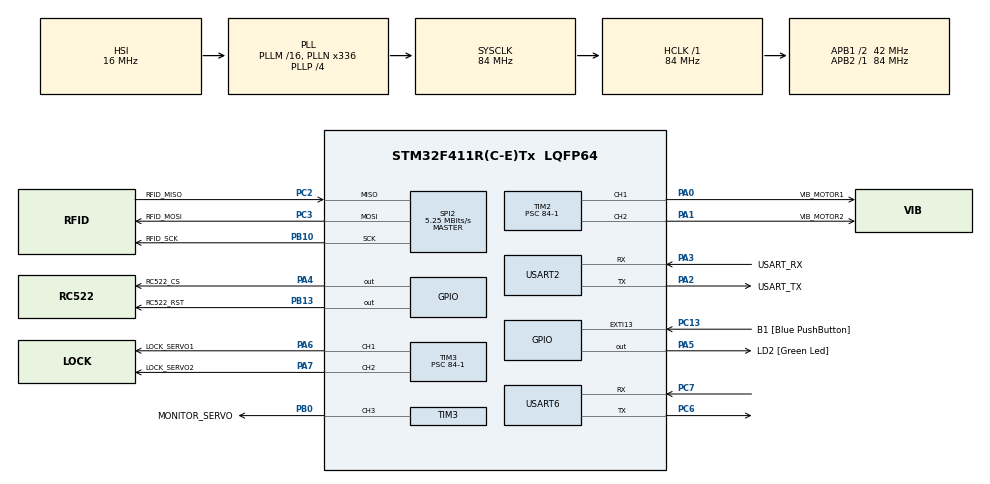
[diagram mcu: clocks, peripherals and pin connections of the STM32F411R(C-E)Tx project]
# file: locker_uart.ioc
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Dma.Request0=USART6_RX
Dma.Request1=USART6_TX
Dma.USART6_RX.0.Direction=DMA_PERIPH_TO_MEMORY
Dma.USART6_RX.0.FIFOMode=DMA_FIFOMODE_DISABLE
Dma.USART6_RX.0.Instance=DMA2_Stream1
Dma.USART6_RX.0.MemDataAlignment=DMA_MDATAALIGN_BYTE
Dma.USART6_RX.0.MemInc=DMA_MINC_ENABLE
Dma.USART6_RX.0.Mode=DMA_NORMAL
Dma.USART6_RX.0.PeriphDataAlignment=DMA_PDATAALIGN_BYTE
Dma.USART6_RX.0.PeriphInc=DMA_PINC_DISABLE
Dma.USART6_RX.0.Priority=DMA_PRIORITY_LOW
Dma.USART6_TX.1.Direction=DMA_MEMORY_TO_PERIPH
Dma.USART6_TX.1.FIFOMode=DMA_FIFOMODE_DISABLE
Dma.USART6_TX.1.Instance=DMA2_Stream6
Dma.USART6_TX.1.MemDataAlignment=DMA_MDATAALIGN_BYTE
Dma.USART6_TX.1.MemInc=DMA_MINC_ENABLE
Dma.USART6_TX.1.Mode=DMA_NORMAL
Dma.USART6_TX.1.PeriphDataAlignment=DMA_PDATAALIGN_BYTE
Dma.USART6_TX.1.PeriphInc=DMA_PINC_DISABLE
Dma.USART6_TX.1.Priority=DMA_PRIORITY_LOW
Mcu.Family=STM32F4
Mcu.Name=STM32F411R(C-E)Tx
Mcu.Package=LQFP64
NVIC.DMA2_Stream1_IRQn=true\:0\:0\:false\:false\:true\:false\:true\:true
NVIC.DMA2_Stream6_IRQn=true\:0\:0\:false\:false\:true\:false\:true\:true
NVIC.PriorityGroup=NVIC_PRIORITYGROUP_4
NVIC.USART6_IRQn=true\:0\:0\:false\:false\:true\:true\:true\:true
PA0-WKUP.GPIO_Label=VIB_MOTOR1
PA0-WKUP.Signal=S_TIM2_CH1_ETR
PA1.GPIO_Label=VIB_MOTOR2
PA1.Signal=S_TIM2_CH2
PA13.GPIO_Label=TMS
PA13.Mode=Serial_Wire
PA13.Signal=SYS_JTMS-SWDIO
PA14.GPIO_Label=TCK
PA14.Mode=Serial_Wire
PA14.Signal=SYS_JTCK-SWCLK
PA2.GPIO_Label=USART_TX
PA2.Mode=Asynchronous
PA2.Signal=USART2_TX
PA3.GPIO_Label=USART_RX
PA3.Mode=Asynchronous
PA3.Signal=USART2_RX
PA4.GPIO_Label=RC522_CS
PA4.Signal=GPIO_Output
PA5.GPIO_Label=LD2 [Green Led]
PA5.Signal=GPIO_Output
PA6.GPIO_Label=LOCK_SERVO1
PA6.Signal=S_TIM3_CH1
PA7.GPIO_Label=LOCK_SERVO2
PA7.Signal=S_TIM3_CH2
PB0.GPIO_Label=MONITOR_SERVO
PB0.Signal=S_TIM3_CH3
PB10.GPIO_Label=RFID_SCK
PB10.Mode=Full_Duplex_Master
PB10.Signal=SPI2_SCK
PB13.GPIO_Label=RC522_RST
PB13.Signal=GPIO_Output
PB3.GPIO_Label=SWO
PB3.Signal=SYS_JTDO-SWO
PC13-ANTI_TAMP.GPIO_Label=B1 [Blue PushButton]
PC13-ANTI_TAMP.GPIO_ModeDefaultEXTI=GPIO_MODE_IT_FALLING
PC13-ANTI_TAMP.Signal=GPXTI13
PC14-OSC32_IN.Signal=RCC_OSC32_IN
PC15-OSC32_OUT.Signal=RCC_OSC32_OUT
PC2.GPIO_Label=RFID_MISO
PC2.Mode=Full_Duplex_Master
PC2.Signal=SPI2_MISO
PC3.GPIO_Label=RFID_MOSI
PC3.Mode=Full_Duplex_Master
PC3.Signal=SPI2_MOSI
PC6.Mode=Asynchronous
PC6.Signal=USART6_TX
PC7.Mode=Asynchronous
PC7.Signal=USART6_RX
PH0\ -\ OSC_IN.Signal=RCC_OSC_IN
PH1\ -\ OSC_OUT.Signal=RCC_OSC_OUT
ProjectManager.HeapSize=0x200
ProjectManager.StackSize=0x400
ProjectManager.TargetToolchain=STM32CubeIDE
RCC.48MHZClocksFreq_Value=84000000
RCC.AHBFreq_Value=84000000
RCC.APB1CLKDivider=RCC_HCLK_DIV2
RCC.APB1Freq_Value=42000000
RCC.APB1TimFreq_Value=84000000
RCC.APB2Freq_Value=84000000
RCC.APB2TimFreq_Value=84000000
RCC.CortexFreq_Value=84000000
RCC.FLatency-AdvancedSettings=FLASH_LATENCY_2
RCC.HCLKFreq_Value=84000000
RCC.HSE_VALUE=8000000
RCC.HSI_VALUE=16000000
RCC.LSE_VALUE=32768
RCC.PLLN=336
RCC.PLLP=RCC_PLLP_DIV4
RCC.SYSCLKFreq_VALUE=84000000
RCC.SYSCLKSource=RCC_SYSCLKSOURCE_PLLCLK
RCC.VCOOutputFreq_Value=336000000
SH.S_TIM2_CH1_ETR.0=TIM2_CH1,PWM Generation1 CH1
SH.S_TIM2_CH2.0=TIM2_CH2,PWM Generation2 CH2
SH.S_TIM3_CH1.0=TIM3_CH1,PWM Generation1 CH1
SH.S_TIM3_CH2.0=TIM3_CH2,PWM Generation2 CH2
SH.S_TIM3_CH3.0=TIM3_CH3,PWM Generation3 CH3
SPI2.BaudRatePrescaler=SPI_BAUDRATEPRESCALER_8
SPI2.CalculateBaudRate=5.25 MBits/s
SPI2.Direction=SPI_DIRECTION_2LINES
SPI2.Mode=SPI_MODE_MASTER
SPI2.VirtualType=VM_MASTER
TIM2.Channel-PWM\ Generation1\ CH1=TIM_CHANNEL_1
TIM2.Channel-PWM\ Generation2\ CH2=TIM_CHANNEL_2
TIM2.Period=1000-1
TIM2.Prescaler=84-1
TIM3.Channel-PWM\ Generation1\ CH1=TIM_CHANNEL_1
TIM3.Channel-PWM\ Generation2\ CH2=TIM_CHANNEL_2
TIM3.Channel-PWM\ Generation3\ CH3=TIM_CHANNEL_3
TIM3.Period=20000-1
TIM3.Prescaler=84-1
USART2.VirtualMode=VM_ASYNC
USART6.VirtualMode=VM_ASYNC
board=NUCLEO-F411RE

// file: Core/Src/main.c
/* USER CODE BEGIN Header */
/**
  ******************************************************************************
  * @file           : main.c
  * @brief          : Main program body
  ******************************************************************************
  * @attention
  *
  * Copyright (c) 2025 STMicroelectronics.
  * All rights reserved.
  *
  * This software is licensed under terms that can be found in the LICENSE file
  * in the root directory of this software component.
  * If no LICENSE file comes with this software, it is provided AS-IS.
  *
  ******************************************************************************
  */
/* USER CODE END Header */
#include "main.h"

/* USER CODE BEGIN Includes */
#include <stdio.h>
#include <string.h>
#include "mfrc522.h"

/* USER CODE END Includes */

/* USER CODE BEGIN PD */
#ifdef __GNUC__
/* With GCC, small printf (option LD Linker->Libraries->Small printf
   set to 'Yes') calls __io_putchar() */
#define PUTCHAR_PROTOTYPE int __io_putchar(int ch)
#else
#define PUTCHAR_PROTOTYPE int fputc(int ch, FILE *f)
#endif /* __GNUC__ */

/* USER CODE END PD */

SPI_HandleTypeDef hspi2;

TIM_HandleTypeDef htim2;
TIM_HandleTypeDef htim3;

UART_HandleTypeDef huart2;
UART_HandleTypeDef huart6;
DMA_HandleTypeDef hdma_usart6_rx;
DMA_HandleTypeDef hdma_usart6_tx;

/* USER CODE BEGIN PV */
#define RX_BUF_SIZE 256
#define TX_BUF_SIZE 256
#define ARR_CNT 4
uint8_t rxBuf[RX_BUF_SIZE];

volatile uint8_t rx_ch;
volatile uint8_t rx_index;
uint8_t uart6_flag = 0;
uint8_t uart6_rx_len = 0;
volatile uint8_t vib_flag = 0;	// 진동 기능 flag
volatile uint8_t vib_repeat = 0;	// 패턴 반복 횟수
static volatile uint8_t old = 0;
char msg_temp[RX_BUF_SIZE];
char* msg = msg_temp;

// RFID
uint8_t cardID[5];
char uid_str[16];
static volatile int authentication_flag = 0;
static volatile int auth_start_time = -1; // 인증 시작 시점의 tim3Sec 저장
static uint8_t card_present = 0;

uint8_t status;
uint8_t str[16];
uint8_t sNum[5];

char uid_msg[TX_BUF_SIZE];

/* USER CODE END PV */

void SystemClock_Config(void);
static void MX_GPIO_Init(void);
static void MX_DMA_Init(void);
static void MX_USART2_UART_Init(void);
static void MX_USART6_UART_Init(void);
static void MX_TIM3_Init(void);
static void MX_TIM2_Init(void);
static void MX_SPI2_Init(void);
/* USER CODE BEGIN PFP */
void processMessage(char *msg);
void servo_unlock(void);
void servo_lock(void);
void send_status(const char *status);
void Motor_SetDutyPercent(uint8_t percent);
int Vib_PulsePattern(void);
void servo_setAngle(uint8_t angle);

/* USER CODE END PFP */

/* USER CODE BEGIN 0 */

/* 들어오는 메시지 처리 */
void processMessage(char* msg)
{
	/*=== 문자열 파싱 ===*/
	int i = 0;
	char * pToken;
	char * pArray[ARR_CNT]={0};

	printf("Original Received : %s\r\n", msg);

	pToken = strtok(msg,":");
	while(pToken != NULL)
	{
	    pArray[i] = pToken;
	    if(++i >= ARR_CNT)
	      break;
	    pToken = strtok(NULL,":");
	}
	if(!strcmp(pArray[2],"DRAWER"))
	{
	 	if(!strcmp(pArray[3],"UNLOCK"))
	  	{
	  		printf(">>>>>debug : unlock\r\n");
			servo_unlock();		// 서랍 잠금해제
			send_status("unlocked success\n");	// 상태 회신 : 잠금해제 성공
	  	}
		else if(!strcmp(pArray[3],"LOCK"))
		{
			printf(">>>>>debug : lock\r\n");
			servo_lock();		// 서랍 잠금
			send_status("locked success\n");	// 상태 회신 : 잠금 성공
		}
	}
	if(!strcmp(pArray[2],"SLP"))
	{
	 	if(!strcmp(pArray[3],"ON"))
	  	{
	  		printf(">>>>>debug : sleeping \r\n");
//		    for(int i = 0; i < 5; i ++)
//		    {
//			    Vib_PulsePattern(); // "두두둑" 패턴 실행
//			    HAL_Delay(800);
//		    }
//		    send_status("vibration success\n");	// 상태 회신 : 진동 성공
		    vib_repeat = 5;		// 5번 반복
		    vib_flag = 1;		// 진동 시작
		    send_status("vibration started\n");	// 상태 회신 : 진동 성공

	  	}
		else if(!strcmp(pArray[3],"OFF"))
		{
			printf(">>>>>debug : No sleeping \r\n");
		}
	}
	if(!strcmp(pArray[2],"POSTURE"))
	{
	 	if(!strcmp(pArray[3],"BAD"))
	  	{
	  		printf(">>>>>debug : bad posture \r\n");
			__HAL_TIM_SET_COMPARE(&htim3, TIM_CHANNEL_3, 2200);
			send_status("monitor tilted up\n");	// 상태 회신 : 모니터 강제 조절 성공
	  	}
		else if(!strcmp(pArray[3],"OK"))
		{
			printf(">>>>>debug : good posture \r\n");
			__HAL_TIM_SET_COMPARE(&htim3, TIM_CHANNEL_3, 2500);
			send_status("monitor reset\n");	// 상태 회신 : 모니터 원상복구
		}
	}

#if 1
	if(strcmp(msg, "unlock") == 0)
	{
		servo_unlock();		// 서랍 잠금해제
		send_status("unlocked success\n");	// 상태 회신 : 잠금해제 성공
	}
	else if(strcmp(msg, "lock") == 0)
	{
		servo_lock();		// 서랍 잠금
		send_status("locked success\n");	// 상태 회신 : 잠금 성공
	}
	else if(strcmp(msg, "sleeping") == 0)
	{
	    printf("Running Vibration...\r\n");
//	    for(int i = 0; i < 5; i ++)
//	    {
//		    Vib_PulsePattern(); // "두두둑" 패턴 실행
//		    HAL_Delay(800);
//	    }
	    vib_repeat = 5;		// 5번 반복
	    vib_flag = 1;		// 진동 시작
	    send_status("vibration started\n");	// 상태 회신 : 진동 성공
	}

	else if(strcmp(msg, "2") == 0)		// 좋은 자세일 때
	{
		printf("Running monitor reset...\r\n");
		__HAL_TIM_SET_COMPARE(&htim3, TIM_CHANNEL_3, 2500);
		send_status("monitor reset\n");	// 상태 회신 : 모니터 원상복구
	}

	else if(strcmp(msg, "1") == 0)		// 나쁜 자세일 때
	{
		printf("Running monitor tilt...\r\n");
		__HAL_TIM_SET_COMPARE(&htim3, TIM_CHANNEL_3, 2200);
		send_status("monitor tilted up\n");	// 상태 회신 : 모니터 강제 조절 성공
	}
	else if(strcmp(msg, "test") == 0)
	{
        // Pi로 전송
        HAL_UART_Transmit(&huart6, (uint8_t*)uid_str, strlen(uid_str), HAL_MAX_DELAY);
        HAL_UART_Transmit(&huart6, (uint8_t*)"\n", 1, HAL_MAX_DELAY);
	}
#endif

}

/* 메시지 전송 */
void send_status(const char *status)
{
	HAL_UART_Transmit(&huart6, (uint8_t*)status, strlen(status), HAL_MAX_DELAY);
}

/*================== 잠금서랍 기능 ==================*/
void servo_unlock(void)
{
	// PWM 제어 코드 (0 도)
	__HAL_TIM_SET_COMPARE(&htim3, TIM_CHANNEL_1, 500);	// 0도
	__HAL_TIM_SET_COMPARE(&htim3, TIM_CHANNEL_2, 1500);	// 90도
	printf("0도\r\n");

}

void servo_lock(void)
{
	// PWM 제어 코드 ( 90 도)
	__HAL_TIM_SET_COMPARE(&htim3, TIM_CHANNEL_1, 1500);	// 90도
	__HAL_TIM_SET_COMPARE(&htim3, TIM_CHANNEL_2, 500);	// 0도
	printf("90도\r\n");
}

/*================== 졸음 진동 기능 ==================*/
// 모터 듀티 설정 (percent 0~100)
void Motor_SetDutyPercent(uint8_t percent) {
    if (percent > 100) percent = 100;
    uint32_t arr = __HAL_TIM_GET_AUTORELOAD(&htim2); // 499
    uint32_t ccr = (arr + 1) * percent / 100;
    __HAL_TIM_SET_COMPARE(&htim2, TIM_CHANNEL_1, ccr);
    __HAL_TIM_SET_COMPARE(&htim2, TIM_CHANNEL_2, ccr);
}

// 진동 패턴 구현
int Vib_PulsePattern(void) {
	static uint32_t last_tick = 0;
	static int state = 0;
	static int pulse_count = 0;

	uint32_t now = HAL_GetTick();

	switch(state)
	{
		case 0:		// 모터 on
			Motor_SetDutyPercent(70);	// 70%로 모터 동작
			last_tick = now;	// 현재 시간을 저장
			pulse_count = 0;	// 강약 반복 횟수
			state = 1;
			break;
		case 1:		// on 500ms -> off
			if(now - last_tick >= 500)	// 500ms 넘어가면
			{
				Motor_SetDutyPercent(0);	// 0%로 모터 동작
				last_tick = now;
				state = 2;
			}
			break;
		case 2:		// off 300 ms -> on
		{
			if(now - last_tick >= 300)	// 300ms 넘어가면
			{
				pulse_count++;
				if(pulse_count < 3)
				{
					Motor_SetDutyPercent(50);	// 50%로 모터 동작
					last_tick = now;
					state = 1;
				}
				else		// 강약 반복 3번 넘어가면
				{
					state = 0;
					return 1;
				}
			}
			break;
		}
	}
	return 0;

//    for (int i=0;i<3;i++) {
//        Motor_SetDutyPercent(50); HAL_Delay(500);
//        Motor_SetDutyPercent(0);  HAL_Delay(100);
//    }
}

/*================== 모니터 조절 기능 ==================*/
void servo_setAngle(uint8_t angle)
{
    /* angle: 0~180 범위 */
    if (angle > 180) angle = 180;

    /*
     * PWM 주기 설정값
     * PSC = 84-1, ARR = 20000-1 → 1 tick = 1 us, 주기 = 20 ms (50Hz)
     * Servo: 0도 ≈ 1ms 펄스, 180도 ≈ 2ms 펄스
     * 즉, CCR = 1000 ~ 2000 (us 단위)
     */
    uint16_t pulse = 1000 + ((angle * 1000) / 180);

    __HAL_TIM_SET_COMPARE(&htim3, TIM_CHANNEL_3, pulse);
}

/* USER CODE END 0 */

int main(void)
{

  /* USER CODE BEGIN 1 */
	uint8_t status;
	uint8_t str[16];

  /* USER CODE END 1 */

  /* MCU Configuration--------------------------------------------------------*/

  /* Reset of all peripherals, Initializes the Flash interface and the Systick. */
  HAL_Init();

  /* Configure the system clock */
  SystemClock_Config();

  /* Initialize all configured peripherals */
  MX_GPIO_Init();
  MX_DMA_Init();
  MX_USART2_UART_Init();
  MX_USART6_UART_Init();
  MX_TIM3_Init();
  MX_TIM2_Init();
  MX_SPI2_Init();
  /* USER CODE BEGIN 2 */
  printf("main start()!!\r\n");

  if(HAL_TIM_PWM_Start(&htim3, TIM_CHANNEL_1) != HAL_OK)
	  Error_Handler();
  if(HAL_TIM_PWM_Start(&htim3, TIM_CHANNEL_2) != HAL_OK)
	  Error_Handler();
  if(HAL_TIM_PWM_Start(&htim3, TIM_CHANNEL_3) != HAL_OK)
	  Error_Handler();
  if(HAL_TIM_PWM_Start(&htim2, TIM_CHANNEL_1) != HAL_OK)
	  Error_Handler();
  if(HAL_TIM_PWM_Start(&htim2, TIM_CHANNEL_2) != HAL_OK)
	  Error_Handler();

  /*=== 인터럽트 방식 ===*/
//  HAL_UART_Receive_IT(&huart6, (uint8_t*)&rx_ch, 1);

  /*=== DMA 방식 ===*/
//  __HAL_UART_ENABLE_IT(&huart6, UART_IT_IDLE);	// IDLE 인터럽트 활성화
//  HAL_UART_Receive_DMA(&huart6, (uint8_t*)rxBuf, RX_BUF_SIZE);
// 	-> 옛날 방식
  HAL_UARTEx_ReceiveToIdle_DMA(&huart6, rxBuf, RX_BUF_SIZE);

  /*=== RFID ===*/
	MFRC522_Init();                               // RC522 초기화

  /* USER CODE END 2 */

  /* Infinite loop */
  /* USER CODE BEGIN WHILE */
  while (1)
  {
//========= RFID 체크 ===============
		status = MFRC522_Request(PICC_REQIDL, str);		// 카드 타입

		if (status == MI_OK && card_present == 0)   // 카드가 감지됨
		{
		    status = MFRC522_Anticoll(str);			// 카드 UID : str[0] ~ [4]에 저장
		    if (status == MI_OK)   // UID 읽기 성공
		    {
		    	card_present = 1;	// 카드 감지된 상태

		        // UID를 문자열로 변환
	            sprintf(uid_str, "%02X%02X%02X%02X", str[0], str[1], str[2], str[3]);
	            printf("Card UID: %s\r\n", uid_str);

	            sprintf(uid_msg, "STM32:none:RFID:%s\n", uid_str);
	            printf("uid_msg : %s\r\n", uid_msg);

	            // Pi로 전송
	            send_status(uid_msg);

	            HAL_Delay(5000);
	            card_present = 0;	// 카드 인식되지 않은 상태
		    }
		}

//========= pi에서 메시지 들어온 경우 처리 ================
// 	-> 옛날 방식
#if 0
	  if(uart6_flag)
	  {
		  uart6_flag = 0;

		//=== DMA 처리 ===
		  uart6_rx_len = RX_BUF_SIZE - __HAL_DMA_GET_COUNTER(huart6.hdmarx);	// 수신된 길이 계산
		  if(uart6_rx_len == 0)	continue;							// 메시지 없으면 무시
	      if(rxBuf[uart6_rx_len - 1] == '\n') uart6_rx_len--;		// 메시지 끝 개행(\n) 제거

	      // 화면 출력
	      if(uart6_rx_len > old)	 // RX_BUF_SIZE보다 작은 메시지가 들어올 때
	      {
	    	  printf(">>Received: %.*s\r\n", uart6_rx_len-old, &rxBuf[old]);
	    	  memcpy(msg_temp, &rxBuf[old], uart6_rx_len-old);		// msg_temp에 rxBuf를 copy
	      }
	      else	// RX_BUF_SIZE보다 큰 메시지가 들어올 때
	      {
		      printf("Received: %.*s", RX_BUF_SIZE-old, &rxBuf[old]);
		      memcpy(msg_temp, &rxBuf[old], RX_BUF_SIZE-old);
		      if(uart6_rx_len) {
		    	  printf("%.*s", uart6_rx_len, &rxBuf[0]);
		    	  memcpy(msg_temp, &rxBuf[old], uart6_rx_len);
		      }
		      printf("\r\n");
	      }

//	      memcpy(msg_temp, &rxBuf, size-2);
	      processMessage(msg_temp);		// msg_temp에 따라 기능 처리
	      old = uart6_rx_len+1;		// old : 이전 메시지의 마지막 부분

	      memset(msg_temp, 0, sizeof(msg_temp));
	  }

#endif
	  //=== 진동 반복 처리 ===
	 if(vib_flag)
	 {
		 if(Vib_PulsePattern())
		 {
			 vib_repeat--;
			 if(vib_repeat <= 0) { vib_flag = 0; }
		 }
	 }

    /* USER CODE END WHILE */

  }
}

void SystemClock_Config(void)
{
  RCC_OscInitTypeDef RCC_OscInitStruct = {0};
  RCC_ClkInitTypeDef RCC_ClkInitStruct = {0};

  /** Configure the main internal regulator output voltage
  */
  __HAL_RCC_PWR_CLK_ENABLE();
  __HAL_PWR_VOLTAGESCALING_CONFIG(PWR_REGULATOR_VOLTAGE_SCALE1);

  /** Initializes the RCC Oscillators according to the specified parameters
  * in the RCC_OscInitTypeDef structure.
  */
  RCC_OscInitStruct.OscillatorType = RCC_OSCILLATORTYPE_HSI;
  RCC_OscInitStruct.HSIState = RCC_HSI_ON;
  RCC_OscInitStruct.HSICalibrationValue = RCC_HSICALIBRATION_DEFAULT;
  RCC_OscInitStruct.PLL.PLLState = RCC_PLL_ON;
  RCC_OscInitStruct.PLL.PLLSource = RCC_PLLSOURCE_HSI;
  RCC_OscInitStruct.PLL.PLLM = 16;
  RCC_OscInitStruct.PLL.PLLN = 336;
  RCC_OscInitStruct.PLL.PLLP = RCC_PLLP_DIV4;
  RCC_OscInitStruct.PLL.PLLQ = 4;
  if (HAL_RCC_OscConfig(&RCC_OscInitStruct) != HAL_OK)
  {
    Error_Handler();
  }

  /** Initializes the CPU, AHB and APB buses clocks
  */
  RCC_ClkInitStruct.ClockType = RCC_CLOCKTYPE_HCLK|RCC_CLOCKTYPE_SYSCLK
                              |RCC_CLOCKTYPE_PCLK1|RCC_CLOCKTYPE_PCLK2;
  RCC_ClkInitStruct.SYSCLKSource = RCC_SYSCLKSOURCE_PLLCLK;
  RCC_ClkInitStruct.AHBCLKDivider = RCC_SYSCLK_DIV1;
  RCC_ClkInitStruct.APB1CLKDivider = RCC_HCLK_DIV2;
  RCC_ClkInitStruct.APB2CLKDivider = RCC_HCLK_DIV1;

  if (HAL_RCC_ClockConfig(&RCC_ClkInitStruct, FLASH_LATENCY_2) != HAL_OK)
  {
    Error_Handler();
  }
}

static void MX_SPI2_Init(void)
{

  /* SPI2 parameter configuration*/
  hspi2.Instance = SPI2;
  hspi2.Init.Mode = SPI_MODE_MASTER;
  hspi2.Init.Direction = SPI_DIRECTION_2LINES;
  hspi2.Init.DataSize = SPI_DATASIZE_8BIT;
  hspi2.Init.CLKPolarity = SPI_POLARITY_LOW;
  hspi2.Init.CLKPhase = SPI_PHASE_1EDGE;
  hspi2.Init.NSS = SPI_NSS_SOFT;
  hspi2.Init.BaudRatePrescaler = SPI_BAUDRATEPRESCALER_8;
  hspi2.Init.FirstBit = SPI_FIRSTBIT_MSB;
  hspi2.Init.TIMode = SPI_TIMODE_DISABLE;
  hspi2.Init.CRCCalculation = SPI_CRCCALCULATION_DISABLE;
  hspi2.Init.CRCPolynomial = 10;
  if (HAL_SPI_Init(&hspi2) != HAL_OK)
  {
    Error_Handler();
  }

}

static void MX_TIM2_Init(void)
{

  TIM_MasterConfigTypeDef sMasterConfig = {0};
  TIM_OC_InitTypeDef sConfigOC = {0};

  htim2.Instance = TIM2;
  htim2.Init.Prescaler = 84-1;
  htim2.Init.CounterMode = TIM_COUNTERMODE_UP;
  htim2.Init.Period = 1000-1;
  htim2.Init.ClockDivision = TIM_CLOCKDIVISION_DIV1;
  htim2.Init.AutoReloadPreload = TIM_AUTORELOAD_PRELOAD_DISABLE;
  if (HAL_TIM_PWM_Init(&htim2) != HAL_OK)
  {
    Error_Handler();
  }
  sMasterConfig.MasterOutputTrigger = TIM_TRGO_RESET;
  sMasterConfig.MasterSlaveMode = TIM_MASTERSLAVEMODE_DISABLE;
  if (HAL_TIMEx_MasterConfigSynchronization(&htim2, &sMasterConfig) != HAL_OK)
  {
    Error_Handler();
  }
  sConfigOC.OCMode = TIM_OCMODE_PWM1;
  sConfigOC.Pulse = 0;
  sConfigOC.OCPolarity = TIM_OCPOLARITY_HIGH;
  sConfigOC.OCFastMode = TIM_OCFAST_DISABLE;
  if (HAL_TIM_PWM_ConfigChannel(&htim2, &sConfigOC, TIM_CHANNEL_1) != HAL_OK)
  {
    Error_Handler();
  }
  if (HAL_TIM_PWM_ConfigChannel(&htim2, &sConfigOC, TIM_CHANNEL_2) != HAL_OK)
  {
    Error_Handler();
  }
  HAL_TIM_MspPostInit(&htim2);

}

static void MX_TIM3_Init(void)
{

  TIM_MasterConfigTypeDef sMasterConfig = {0};
  TIM_OC_InitTypeDef sConfigOC = {0};

  htim3.Instance = TIM3;
  htim3.Init.Prescaler = 84-1;
  htim3.Init.CounterMode = TIM_COUNTERMODE_UP;
  htim3.Init.Period = 20000-1;
  htim3.Init.ClockDivision = TIM_CLOCKDIVISION_DIV1;
  htim3.Init.AutoReloadPreload = TIM_AUTORELOAD_PRELOAD_DISABLE;
  if (HAL_TIM_PWM_Init(&htim3) != HAL_OK)
  {
    Error_Handler();
  }
  sMasterConfig.MasterOutputTrigger = TIM_TRGO_RESET;
  sMasterConfig.MasterSlaveMode = TIM_MASTERSLAVEMODE_DISABLE;
  if (HAL_TIMEx_MasterConfigSynchronization(&htim3, &sMasterConfig) != HAL_OK)
  {
    Error_Handler();
  }
  sConfigOC.OCMode = TIM_OCMODE_PWM1;
  sConfigOC.Pulse = 0;
  sConfigOC.OCPolarity = TIM_OCPOLARITY_HIGH;
  sConfigOC.OCFastMode = TIM_OCFAST_DISABLE;
  if (HAL_TIM_PWM_ConfigChannel(&htim3, &sConfigOC, TIM_CHANNEL_1) != HAL_OK)
  {
    Error_Handler();
  }
  if (HAL_TIM_PWM_ConfigChannel(&htim3, &sConfigOC, TIM_CHANNEL_2) != HAL_OK)
  {
    Error_Handler();
  }
  if (HAL_TIM_PWM_ConfigChannel(&htim3, &sConfigOC, TIM_CHANNEL_3) != HAL_OK)
  {
    Error_Handler();
  }
  HAL_TIM_MspPostInit(&htim3);

}

static void MX_USART2_UART_Init(void)
{

  huart2.Instance = USART2;
  huart2.Init.BaudRate = 115200;
  huart2.Init.WordLength = UART_WORDLENGTH_8B;
  huart2.Init.StopBits = UART_STOPBITS_1;
  huart2.Init.Parity = UART_PARITY_NONE;
  huart2.Init.Mode = UART_MODE_TX_RX;
  huart2.Init.HwFlowCtl = UART_HWCONTROL_NONE;
  huart2.Init.OverSampling = UART_OVERSAMPLING_16;
  if (HAL_UART_Init(&huart2) != HAL_OK)
  {
    Error_Handler();
  }

}

static void MX_USART6_UART_Init(void)
{

  huart6.Instance = USART6;
  huart6.Init.BaudRate = 115200;
  huart6.Init.WordLength = UART_WORDLENGTH_8B;
  huart6.Init.StopBits = UART_STOPBITS_1;
  huart6.Init.Parity = UART_PARITY_NONE;
  huart6.Init.Mode = UART_MODE_TX_RX;
  huart6.Init.HwFlowCtl = UART_HWCONTROL_NONE;
  huart6.Init.OverSampling = UART_OVERSAMPLING_16;
  if (HAL_UART_Init(&huart6) != HAL_OK)
  {
    Error_Handler();
  }

}

static void MX_DMA_Init(void)
{

  /* DMA controller clock enable */
  __HAL_RCC_DMA2_CLK_ENABLE();

  /* DMA interrupt init */
  /* DMA2_Stream1_IRQn interrupt configuration */
  HAL_NVIC_SetPriority(DMA2_Stream1_IRQn, 0, 0);
  HAL_NVIC_EnableIRQ(DMA2_Stream1_IRQn);
  /* DMA2_Stream6_IRQn interrupt configuration */
  HAL_NVIC_SetPriority(DMA2_Stream6_IRQn, 0, 0);
  HAL_NVIC_EnableIRQ(DMA2_Stream6_IRQn);

}

static void MX_GPIO_Init(void)
{
  GPIO_InitTypeDef GPIO_InitStruct = {0};

  /* GPIO Ports Clock Enable */
  __HAL_RCC_GPIOC_CLK_ENABLE();
  __HAL_RCC_GPIOH_CLK_ENABLE();
  __HAL_RCC_GPIOA_CLK_ENABLE();
  __HAL_RCC_GPIOB_CLK_ENABLE();

  /*Configure GPIO pin Output Level */
  HAL_GPIO_WritePin(GPIOA, RC522_CS_Pin|LD2_Pin, GPIO_PIN_RESET);

  /*Configure GPIO pin Output Level */
  HAL_GPIO_WritePin(RC522_RST_GPIO_Port, RC522_RST_Pin, GPIO_PIN_RESET);

  /*Configure GPIO pin : B1_Pin */
  GPIO_InitStruct.Pin = B1_Pin;
  GPIO_InitStruct.Mode = GPIO_MODE_IT_FALLING;
  GPIO_InitStruct.Pull = GPIO_NOPULL;
  HAL_GPIO_Init(B1_GPIO_Port, &GPIO_InitStruct);

  /*Configure GPIO pins : RC522_CS_Pin LD2_Pin */
  GPIO_InitStruct.Pin = RC522_CS_Pin|LD2_Pin;
  GPIO_InitStruct.Mode = GPIO_MODE_OUTPUT_PP;
  GPIO_InitStruct.Pull = GPIO_NOPULL;
  GPIO_InitStruct.Speed = GPIO_SPEED_FREQ_LOW;
  HAL_GPIO_Init(GPIOA, &GPIO_InitStruct);

  /*Configure GPIO pin : RC522_RST_Pin */
  GPIO_InitStruct.Pin = RC522_RST_Pin;
  GPIO_InitStruct.Mode = GPIO_MODE_OUTPUT_PP;
  GPIO_InitStruct.Pull = GPIO_NOPULL;
  GPIO_InitStruct.Speed = GPIO_SPEED_FREQ_LOW;
  HAL_GPIO_Init(RC522_RST_GPIO_Port, &GPIO_InitStruct);

}

/* USER CODE BEGIN 4 */
/**
  * @brief  Retargets the C library printf function to the USART.
  * @param  None
  * @retval None
  */
PUTCHAR_PROTOTYPE
{
  /* Place your implementation of fputc here */
  /* e.g. write a character to the USART6 and Loop until the end of transmission */
  HAL_UART_Transmit(&huart2, (uint8_t *)&ch, 1, 0xFFFF);

  return ch;
}

/* === UART 메시지 인터럽트로 처리 === */
//void HAL_UART_RxCpltCallback(UART_HandleTypeDef *huart)
//{
//	if(huart->Instance == USART6)	// USART6에서 인터럽트 발생했을 때 처리
//	{
//		if(rx_ch == '\n')
//		 {
//			uart6_flag = 1;
//		}
//		else
//		{
//			if(rx_index < RX_BUF_SIZE -1)
//			{
//				rxBuf[rx_index++] = rx_ch;
//			}
//		}
//
//		HAL_UART_Receive_IT(&huart6, (uint8_t*)&rx_ch, 1);	// 다시 수신 요청
//	}
//}

/* === UART DMA로 처리 === */
// void USART6_IRQHandler(void)		// stm32f4xx_it.c안에 구현
// {
//		if (__HAL_UART_GET_FLAG(&huart6, UART_FLAG_IDLE)) {
//			__HAL_UART_CLEAR_IDLEFLAG(&huart6);
//			  uart6_flag = 1;  // main 루프에서 처리
//		}
//		HAL_UART_IRQHandler(&huart6);
// }
// -> 옛날 방식

void HAL_UARTEx_RxEventCallback(UART_HandleTypeDef *huart, uint16_t Size)
{
	if(huart->Instance == USART6)
	{
		  memcpy(msg_temp, &rxBuf, Size-1);
	      processMessage(msg_temp);					// msg_temp에 따라 기능 처리
	      memset(msg_temp, 0, sizeof(msg_temp));

	      HAL_UARTEx_ReceiveToIdle_DMA(&huart6, rxBuf, RX_BUF_SIZE);
	}
}

/* USER CODE END 4 */

void Error_Handler(void)
{
  __disable_irq();
  while (1)
  {
  }
}
